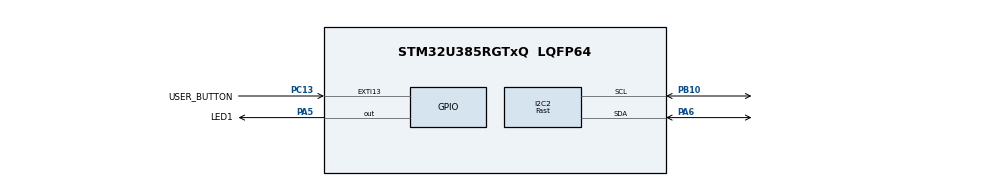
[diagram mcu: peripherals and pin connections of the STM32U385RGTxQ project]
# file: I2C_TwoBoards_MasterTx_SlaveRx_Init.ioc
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CORTEX_M33_NS.userName=CORTEX_M33
I2C2.I2C_Coeff_DF=2
I2C2.I2C_Fall_Time=10
I2C2.I2C_Rise_Time=100
I2C2.I2C_Speed_Mode=I2C_Fast
I2C2.OwnAddress=SLAVE_OWN_ADDRESS
I2C2.Timing=0x10901850
Mcu.Family=STM32U3
Mcu.Name=STM32U385RGTxQ
Mcu.Package=LQFP64
NVIC.EXTI13_IRQn=true\:0\:0\:false\:false\:true\:true\:true\:true
NVIC.PriorityGroup=NVIC_PRIORITYGROUP_4
PA5.GPIO_Label=LED1
PA5.Signal=GPIO_Output
PA6.GPIO_Pu=GPIO_PULLUP
PA6.GPIO_Speed=GPIO_SPEED_FREQ_HIGH
PA6.Mode=I2C
PA6.Signal=I2C2_SDA
PB10.GPIO_Pu=GPIO_PULLUP
PB10.GPIO_Speed=GPIO_SPEED_FREQ_HIGH
PB10.Mode=I2C
PB10.Signal=I2C2_SCL
PC13.GPIO_Label=USER_BUTTON
PC13.GPIO_ModeDefaultEXTI=GPIO_MODE_IT_RISING
PC13.Signal=GPXTI13
PH0-OSC_IN\ (PH0).Mode=HSE-External-Oscillator
PH0-OSC_IN\ (PH0).Signal=RCC_OSC_IN
PH1-OSC_OUT\ (PH1).Mode=HSE-External-Oscillator
PH1-OSC_OUT\ (PH1).Signal=RCC_OSC_OUT
ProjectManager.HeapSize=0x200
ProjectManager.StackSize=0x400
ProjectManager.TargetToolchain=EWARM V9.20
RCC.ADCFreq_Value=96000000
RCC.AHBFreq_Value=96000000
RCC.APB1Freq_Value=96000000
RCC.APB1TimFreq_Value=96000000
RCC.APB2Freq_Value=96000000
RCC.APB2TimFreq_Value=96000000
RCC.APB3Freq_Value=96000000
RCC.CortexFreq_Value=12000000
RCC.FLatency=FLASH_LATENCY_2
RCC.HCLKFreq_Value=96000000
RCC.HSE_VALUE=16000000
RCC.HSI48_VALUE=48000000
RCC.HSI_VALUE=16000000
RCC.LSE_VALUE=32768
RCC.LSIDIV_VALUE=32000
RCC.MSISDIV=RCC_MSI_DIV1
RCC.SYSCLKFreq_VALUE=96000000
RCC.USBFreq_Value=96000000
VP_ICACHE_VS_ICACHE.Mode=DirectMappedCache
VP_PWR_VS_DBSignals.Mode=DisableDeadBatterySignals
VP_PWR_VS_LPOM.Mode=PowerOptimisation
VP_PWR_VS_SECSignals.Mode=Security/Privilege
board=custom

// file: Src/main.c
/* USER CODE BEGIN Header */
/**
  ******************************************************************************
  * @file    Examples_LL/I2C/I2C_TwoBoards_MasterTx_SlaveRx_Init/Src/main.c
  * @author  MCD Application Team
  * @brief   This example describes how to send/receive bytes over I2C IP using
  *          the STM32U3xx I2C LL API.
  *          Peripheral initialization done using LL unitary services functions.
  ******************************************************************************
  * @attention
  *
  * Copyright (c) 2024 STMicroelectronics.
  * All rights reserved.
  *
  * This software is licensed under terms that can be found in the LICENSE file
  * in the root directory of this software component.
  * If no LICENSE file comes with this software, it is provided AS-IS.
  *
  ******************************************************************************
  */
/* USER CODE END Header */
#include "main.h"

/* USER CODE BEGIN PD */
/**
  * @brief Timeout value
  */
#if (USE_TIMEOUT == 1)
#ifdef SLAVE_BOARD
#define I2C_SEND_TIMEOUT_RXNE_MS 5

#else /* MASTER_BOARD */

#define I2C_SEND_TIMEOUT_TXIS_MS 5
#define I2C_SEND_TIMEOUT_SB_MS        5
#define I2C_SEND_TIMEOUT_ADDR_MS      5
#endif /* SLAVE_BOARD */
#endif /* USE_TIMEOUT */

/**
  * @brief I2C devices settings
  */
/* Timing register value is computed with the STM32CubeMX Tool,
  * Fast Mode @400kHz with I2CCLK = 24 MHz,
  * rise time = 100ns, fall time = 10ns
  * Timing Value = (uint32_t)0x20F02A89
  */
#define I2C_TIMING               0x20F02A89

/* USER CODE END PD */

/* USER CODE BEGIN PV */

#if (USE_TIMEOUT == 1)
uint32_t Timeout                 = 0; /* Variable used for Timeout management */
#endif /* USE_TIMEOUT */
const uint8_t aLedOn[]           = "LED ON";

#ifdef SLAVE_BOARD
/**
  * @brief Variables related to SlaveReceive process
  */
uint8_t      aReceiveBuffer[0xF] = {0};
__IO uint8_t ubReceiveIndex      = 0;

#else /* MASTER_BOARD */
/**
  * @brief Variables related to MasterTransmit process
  */
__IO uint8_t  ubNbDataToTransmit = sizeof(aLedOn);
uint8_t      *pTransmitBuffer    = (uint8_t *)aLedOn;
__IO uint8_t ubButtonPress = 0;
#endif /* SLAVE_BOARD */

/* USER CODE END PV */

void SystemClock_Config(void);
static void MX_GPIO_Init(void);
static void MX_ICACHE_Init(void);
static void MX_I2C2_Init(void);
/* USER CODE BEGIN PFP */
#ifndef SLAVE_BOARD
#endif /* MASTER_BOARD */
void     LED_On(void);
void     LED_Off(void);
void     LED_Blinking(uint32_t Period);
#ifdef SLAVE_BOARD
void     Configure_I2C_Slave(void);
void     Handle_I2C_Slave(void);
uint8_t  Buffercmp8(uint8_t *pBuffer1, uint8_t *pBuffer2, uint8_t BufferLength);
#else /* MASTER_BOARD */
void     WaitForUserButtonPress(void);
void     Handle_I2C_Master(void);
#endif /* SLAVE_BOARD */
/* USER CODE END PFP */

int main(void)
{

  /* MCU Configuration--------------------------------------------------------*/

  /* Reset of all peripherals, Initializes the Flash interface and the Systick. */

  /* System interrupt init*/
  NVIC_SetPriorityGrouping(NVIC_PRIORITYGROUP_4);

  /* SysTick_IRQn interrupt configuration */
  NVIC_SetPriority(SysTick_IRQn, NVIC_EncodePriority(NVIC_GetPriorityGrouping(),15, 0));

  /* Configure the system clock */
  SystemClock_Config();

  /* Initialize all configured peripherals */
  MX_GPIO_Init();
  MX_ICACHE_Init();
  MX_I2C2_Init();
  /* USER CODE BEGIN 2 */
#ifndef SLAVE_BOARD
#endif /* SLAVE_BOARD */

  /* Set LD2 Off */
  LED_Off();

#ifdef SLAVE_BOARD

  /* Handle I2C2 events (Slave) */
  Handle_I2C_Slave();
#else /* MASTER_BOARD */

  /* Wait for User push-button press to start transfer */
  WaitForUserButtonPress();

  /* Handle I2C2 events (Master) */
  Handle_I2C_Master();
#endif /* SLAVE_BOARD */

  /* USER CODE END 2 */

  /* Infinite loop */
  while (1)
  {

  }
}

void SystemClock_Config(void)
{
  /** Enable Epod Booster
  */
  LL_AHB1_GRP2_EnableClock(LL_AHB1_GRP2_PERIPH_PWR);
  LL_RCC_SetEPODBoosterClkSource(LL_RCC_EPODBOOSTCLKSRCE_MSIS);
  LL_RCC_SetEPODBoosterClkPrescaler(LL_RCC_EPODBOOSTCLKPRESCAL_1);
  LL_PWR_EnableEPODBooster();
  while(LL_PWR_IsActiveFlag_BOOST() != 1U)
  {
  }

  /** Configure the main internal regulator output voltage
  */
  LL_PWR_SetRegulVoltageScaling(LL_PWR_REGU_VOLTAGE_SCALE1);
  while(LL_PWR_GetRegulCurrentVOS() != LL_PWR_REGU_VOLTAGE_SCALE1)
  {
  }

  /** Set Flash latency before switching to MSIS
  */
  LL_FLASH_SetLatency(LL_FLASH_LATENCY_2);
  while(LL_FLASH_GetLatency() != LL_FLASH_LATENCY_2)
  {
  }

  /** Activate MSIS as source
  */
  LL_RCC_MSIS_SetClockSource(LL_RCC_MSIS_CLOCK_SOURCE_RC0);
  LL_RCC_MSIS_SetClockDivision(LL_RCC_MSIS_CLOCK_SOURCE_RC_DIV_1);
  LL_RCC_MSI_SetMSIxClockRange();
  LL_RCC_SetSysClkSource(LL_RCC_SYS_CLKSOURCE_MSIS);

  /** Wait till System clock is ready
  */
  while(LL_RCC_GetSysClkSource() != LL_RCC_SYS_CLKSOURCE_MSIS)
  {
  }

  LL_RCC_SetAHBPrescaler(LL_RCC_HCLK_SYSCLK_DIV_1);
  LL_RCC_SetAPB1Prescaler(LL_RCC_APB1_HCLK_DIV_1);
  LL_RCC_SetAPB2Prescaler(LL_RCC_APB2_HCLK_DIV_1);
  LL_RCC_SetAPB3Prescaler(LL_RCC_APB3_HCLK_DIV_1);

  LL_Init1msTick(96000000);

  LL_SetSystemCoreClock(96000000);
}

static void MX_I2C2_Init(void)
{

  LL_I2C_InitTypeDef I2C_InitStruct = {0};

  LL_GPIO_InitTypeDef GPIO_InitStruct = {0};

  LL_RCC_SetI2CClockSource(LL_RCC_I2C2_CLKSOURCE_PCLK1);

  LL_AHB2_GRP1_EnableClock(LL_AHB2_GRP1_PERIPH_GPIOA);
  LL_AHB2_GRP1_EnableClock(LL_AHB2_GRP1_PERIPH_GPIOB);
  /**I2C2 GPIO Configuration
  PA6   ------> I2C2_SDA
  PB10   ------> I2C2_SCL
  */
  GPIO_InitStruct.Pin = LL_GPIO_PIN_6;
  GPIO_InitStruct.Mode = LL_GPIO_MODE_ALTERNATE;
  GPIO_InitStruct.Speed = LL_GPIO_SPEED_FREQ_HIGH;
  GPIO_InitStruct.OutputType = LL_GPIO_OUTPUT_OPENDRAIN;
  GPIO_InitStruct.Pull = LL_GPIO_PULL_UP;
  GPIO_InitStruct.Alternate = LL_GPIO_AF_4;
  LL_GPIO_Init(GPIOA, &GPIO_InitStruct);

  GPIO_InitStruct.Pin = LL_GPIO_PIN_10;
  GPIO_InitStruct.Mode = LL_GPIO_MODE_ALTERNATE;
  GPIO_InitStruct.Speed = LL_GPIO_SPEED_FREQ_HIGH;
  GPIO_InitStruct.OutputType = LL_GPIO_OUTPUT_OPENDRAIN;
  GPIO_InitStruct.Pull = LL_GPIO_PULL_UP;
  GPIO_InitStruct.Alternate = LL_GPIO_AF_4;
  LL_GPIO_Init(GPIOB, &GPIO_InitStruct);

  /* Peripheral clock enable */
  LL_APB1_GRP1_EnableClock(LL_APB1_GRP1_PERIPH_I2C2);

  /** I2C Initialization
  */
  LL_I2C_EnableAutoEndMode(I2C2);
  LL_I2C_DisableOwnAddress2(I2C2);
  LL_I2C_DisableGeneralCall(I2C2);
  LL_I2C_EnableClockStretching(I2C2);
  I2C_InitStruct.PeripheralMode = LL_I2C_MODE_I2C;
  I2C_InitStruct.Timing = 0x10901850;
  I2C_InitStruct.AnalogFilter = LL_I2C_ANALOGFILTER_ENABLE;
  I2C_InitStruct.DigitalFilter = 2;
  I2C_InitStruct.OwnAddress1 = SLAVE_OWN_ADDRESS;
  I2C_InitStruct.TypeAcknowledge = LL_I2C_ACK;
  I2C_InitStruct.OwnAddrSize = LL_I2C_OWNADDRESS1_7BIT;
  LL_I2C_Init(I2C2, &I2C_InitStruct);
  LL_I2C_SetOwnAddress2(I2C2, 0, LL_I2C_OWNADDRESS2_NOMASK);
  /* USER CODE BEGIN I2C2_Init 2 */
#ifdef SLAVE_BOARD
  /* Configure I2C2 functional parameters *********************************/

/* Disable I2C2 prior modifying configuration registers */
LL_I2C_Disable(I2C2);

/* Configure the SDA setup, hold time and the SCL high, low period */
/* Timing register value is computed with the STM32CubeMX Tool,
  * Fast Mode @400kHz with I2CCLK = 24 MHz,
  * rise time = 100ns, fall time = 10ns
  * Timing Value = (uint32_t)0x20F02A89
  */
LL_I2C_SetTiming(I2C2, I2C_TIMING);

/* Configure the Own Address1 :
 *  - OwnAddress1 is SLAVE_OWN_ADDRESS
 *  - OwnAddrSize is LL_I2C_OWNADDRESS1_7BIT
 *  - Own Address1 is enabled
 */
LL_I2C_SetOwnAddress1(I2C2, SLAVE_OWN_ADDRESS, LL_I2C_OWNADDRESS1_7BIT);
LL_I2C_EnableOwnAddress1(I2C2);

/* Enable I2C2 **********************************************************/
LL_I2C_Enable(I2C2);
#else
  /* Configure I2C2 functional parameters ********************************/

/* Disable I2C2 prior modifying configuration registers */
LL_I2C_Disable(I2C2);

/* Configure the SDA setup, hold time and the SCL high, low period */
LL_I2C_SetTiming(I2C2, I2C_TIMING);

/* Enable I2C2 **********************************************************/
LL_I2C_Enable(I2C2);
#endif

  /* USER CODE END I2C2_Init 2 */

}

static void MX_ICACHE_Init(void)
{

  /** Enable instruction cache in 1-way (direct mapped cache)
  */
  LL_ICACHE_SetMode(LL_ICACHE_1WAY);
  LL_ICACHE_Enable();

}

static void MX_GPIO_Init(void)
{
  LL_EXTI_InitTypeDef EXTI_InitStruct = {0};
  LL_GPIO_InitTypeDef GPIO_InitStruct = {0};

  /* GPIO Ports Clock Enable */
  LL_AHB2_GRP1_EnableClock(LL_AHB2_GRP1_PERIPH_GPIOC);
  LL_AHB2_GRP1_EnableClock(LL_AHB2_GRP1_PERIPH_GPIOH);
  LL_AHB2_GRP1_EnableClock(LL_AHB2_GRP1_PERIPH_GPIOA);
  LL_AHB2_GRP1_EnableClock(LL_AHB2_GRP1_PERIPH_GPIOB);

  /**/
  LL_GPIO_ResetOutputPin(LED1_GPIO_Port, LED1_Pin);

  /**/
  LL_EXTI_SetEXTISource(LL_EXTI_CONFIG_PORTC, LL_EXTI_CONFIG_LINE13);

  /**/
  EXTI_InitStruct.Line_0_31 = LL_EXTI_LINE_13;
  EXTI_InitStruct.LineCommand = ENABLE;
  EXTI_InitStruct.Mode = LL_EXTI_MODE_IT;
  EXTI_InitStruct.Trigger = LL_EXTI_TRIGGER_RISING;
  LL_EXTI_Init(&EXTI_InitStruct);

  /**/
  LL_GPIO_SetPinPull(USER_BUTTON_GPIO_Port, USER_BUTTON_Pin, LL_GPIO_PULL_NO);

  /**/
  LL_GPIO_SetPinMode(USER_BUTTON_GPIO_Port, USER_BUTTON_Pin, LL_GPIO_MODE_INPUT);

  /**/
  GPIO_InitStruct.Pin = LED1_Pin;
  GPIO_InitStruct.Mode = LL_GPIO_MODE_OUTPUT;
  GPIO_InitStruct.Speed = LL_GPIO_SPEED_FREQ_LOW;
  GPIO_InitStruct.OutputType = LL_GPIO_OUTPUT_PUSHPULL;
  GPIO_InitStruct.Pull = LL_GPIO_PULL_NO;
  LL_GPIO_Init(LED1_GPIO_Port, &GPIO_InitStruct);

  /* EXTI interrupt init*/
  NVIC_SetPriority(EXTI13_IRQn, NVIC_EncodePriority(NVIC_GetPriorityGrouping(),0, 0));
  NVIC_EnableIRQ(EXTI13_IRQn);

}

/* USER CODE BEGIN 4 */
#ifndef SLAVE_BOARD
#endif /* MASTER_BOARD */

/**
  * @brief  Turn-on LD2.
  * @param  None
  * @retval None
  */
void LED_On(void)
{
  /* Turn LD2 on */
  LL_GPIO_SetOutputPin(GPIOA, LL_GPIO_PIN_5);
}

/**
  * @brief  Turn-off LD2.
  * @param  None
  * @retval None
  */
void LED_Off(void)
{
  /* Turn LD2 off */
  LL_GPIO_ResetOutputPin(GPIOA, LL_GPIO_PIN_5);
}

/**
  * @brief  Set LD2 to Blinking mode for an infinite loop (toggle period based on value provided as input parameter).
  * @param  Period : Period of time (in ms) between each toggling of LED
  *   This parameter can be user defined values. Pre-defined values used in that example are :
  *     @arg LED_BLINK_FAST : Fast Blinking
  *     @arg LED_BLINK_SLOW : Slow Blinking
  *     @arg LED_BLINK_ERROR : Error specific Blinking
  * @retval None
  */
void LED_Blinking(uint32_t Period)
{
  /* Turn LD2 on */
  LL_GPIO_SetOutputPin(GPIOA, LL_GPIO_PIN_5);

  /* Toggle IO in an infinite loop */
  while (1)
  {
    LL_GPIO_TogglePin(GPIOA, LL_GPIO_PIN_5);
    LL_mDelay(Period);
  }
}

#ifdef SLAVE_BOARD
/**
  * @brief  This Function handle Slave events to perform a reception process
  * @note  This function is composed in different steps :
  *        -1- Wait ADDR flag and check address match code and direction
  *        -2- Loop until end of transfer received (STOP flag raised)
  *             -2.1- Receive data (RXNE flag raised)
  *             -2.2- Receive data (BTF flag raised)
  *        -3- Clear pending flags, Check Data consistency
  * @param  None
  * @retval None
  */
void Handle_I2C_Slave(void)
{
  /* (1) Wait ADDR flag and check address match code and direction ************/
  while (!LL_I2C_IsActiveFlag_ADDR(I2C2))
  {
  }

  /* Verify the Address Match with the OWN Slave address */
  if (LL_I2C_GetAddressMatchCode(I2C2) == SLAVE_OWN_ADDRESS)
  {
    /* Verify the transfer direction, a write direction, Slave enters receiver mode */
    if (LL_I2C_GetTransferDirection(I2C2) == LL_I2C_DIRECTION_WRITE)
    {
      /* Clear ADDR flag value in ISR register */
      LL_I2C_ClearFlag_ADDR(I2C2);
    }
    else
    {
      /* Clear ADDR flag value in ISR register */
      LL_I2C_ClearFlag_ADDR(I2C2);

      /* Call Error function */
      Error_Callback();
    }
  }
  else
  {
    /* Clear ADDR flag value in ISR register */
    LL_I2C_ClearFlag_ADDR(I2C2);

    /* Call Error function */
    Error_Callback();
  }

  /* (2) Loop until end of transfer received (STOP flag raised) ***************/

#if (USE_TIMEOUT == 1)
  Timeout = I2C_SEND_TIMEOUT_RXNE_MS;
#endif /* USE_TIMEOUT */

  /* Loop until STOP flag is raised  */
  while (!LL_I2C_IsActiveFlag_STOP(I2C2))
  {
    /* (2.1) Receive data (RXNE flag raised) **********************************/

    /* Check RXNE flag value in ISR register */
    if (LL_I2C_IsActiveFlag_RXNE(I2C2))
    {
      /* Read character in Receive Data register.
      RXNE flag is cleared by reading data in RXDR register */
      aReceiveBuffer[ubReceiveIndex++] = LL_I2C_ReceiveData8(I2C2);

#if (USE_TIMEOUT == 1)
      Timeout = I2C_SEND_TIMEOUT_RXNE_MS;
#endif /* USE_TIMEOUT */
    }

#if (USE_TIMEOUT == 1)
    /* Check Systick counter flag to decrement the time-out value */
    if (LL_SYSTICK_IsActiveCounterFlag())
    {
      if (Timeout-- == 0)
      {
        /* Time-out occurred. Set LD2 to blinking mode */
        LED_Blinking(LED_BLINK_SLOW);
      }
    }
#endif /* USE_TIMEOUT */
  }

  /* (3) Clear pending flags, Check Data consistency **************************/

  /* End of I2C_SlaveReceiver_MasterTransmitter_DMA Process */
  LL_I2C_ClearFlag_STOP(I2C2);

  /* Check if data request to turn on the LD2 */
  if (Buffercmp8((uint8_t *)aReceiveBuffer, (uint8_t *)aLedOn, (ubReceiveIndex - 1)) == 0)
  {
    /* Turn LD2 On:
     *  - Expected bytes have been received
     *  - Slave Rx sequence completed successfully
     */
    LED_On();
  }
  else
  {
    /* Call Error function */
    Error_Callback();
  }
}

/**
  * @brief  Compares two 8-bit buffers and returns the comparison result.
  * @param  pBuffer1: pointer to the source buffer to be compared to.
  * @param  pBuffer2: pointer to the second source buffer to be compared to the first.
  * @param  BufferLength: buffer's length.
  *    - 0: Comparison is OK (the two Buffers are identical)
  *    - Value different from 0: Comparison is NOK (Buffers are different)
  */
uint8_t Buffercmp8(uint8_t *pBuffer1, uint8_t *pBuffer2, uint8_t BufferLength)
{
  while (BufferLength--)
  {
    if (*pBuffer1 != *pBuffer2)
    {
      return 1;
    }

    pBuffer1++;
    pBuffer2++;
  }

  return 0;
}

#else /* MASTER_BOARD */

/**
  * @brief  Wait for User push-button press to start transfer.
  * @param  None
  * @retval None
  */
/*  */
void WaitForUserButtonPress(void)
{
  while (ubButtonPress == 0)
  {
    LL_GPIO_TogglePin(GPIOA, LL_GPIO_PIN_5);
    LL_mDelay(LED_BLINK_FAST);
  }
  /* Turn LD2 off */
  LL_GPIO_ResetOutputPin(GPIOA, LL_GPIO_PIN_5);
}

/**
  * @brief  This Function handle Master events to perform a transmission process
  * @note  This function is composed in different steps :
  *        -1- Initiate a Start condition to the Slave device
  *        -2- Loop until end of transfer received (STOP flag raised)
  *             -2.1- Transmit data (TXIS flag raised)
  *        -3- Clear pending flags, Data consistency are checking into Slave process
  * @param  None
  * @retval None
  */
void Handle_I2C_Master(void)
{
  /* (1) Initiate a Start condition to the Slave device ***********************/

  /* Master Generate Start condition for a write request :              */
  /*    - to the Slave with a 7-Bit SLAVE_OWN_ADDRESS                   */
  /*    - with a auto stop condition generation when transmit all bytes */
  LL_I2C_HandleTransfer(I2C2, SLAVE_OWN_ADDRESS, LL_I2C_ADDRSLAVE_7BIT, ubNbDataToTransmit, LL_I2C_MODE_AUTOEND, LL_I2C_GENERATE_START_WRITE);

  /* (2) Loop until end of transfer received (STOP flag raised) ***************/

#if (USE_TIMEOUT == 1)
  Timeout = I2C_SEND_TIMEOUT_TXIS_MS;
#endif /* USE_TIMEOUT */

  /* Loop until STOP flag is raised  */
  while (!LL_I2C_IsActiveFlag_STOP(I2C2))
  {
    /* (2.1) Transmit data (TXIS flag raised) *********************************/

    /* Check TXIS flag value in ISR register */
    if (LL_I2C_IsActiveFlag_TXIS(I2C2))
    {
      /* Write data in Transmit Data register.
      TXIS flag is cleared by writing data in TXDR register */
      LL_I2C_TransmitData8(I2C2, (*pTransmitBuffer++));

#if (USE_TIMEOUT == 1)
      Timeout = I2C_SEND_TIMEOUT_TXIS_MS;
#endif /* USE_TIMEOUT */
    }

#if (USE_TIMEOUT == 1)
    /* Check Systick counter flag to decrement the time-out value */
    if (LL_SYSTICK_IsActiveCounterFlag())
    {
      if (Timeout-- == 0)
      {
        /* Time-out occurred. Set LD2 to blinking mode */
        LED_Blinking(LED_BLINK_SLOW);
      }
    }
#endif /* USE_TIMEOUT */
  }

  /* (3) Clear pending flags, Data consistency are checking into Slave process */

  /* End of I2C_SlaveReceiver_MasterTransmitter Process */
  LL_I2C_ClearFlag_STOP(I2C2);

  /* Turn LD2 On:
   *  - Expected bytes have been sent
   *  - Master Tx sequence completed successfully
   */
  LED_On();
}
#endif /* SLAVE_BOARD */

/******************************************************************************/
/*   IRQ HANDLER TREATMENT Functions                                          */
/******************************************************************************/
#ifndef SLAVE_BOARD
/**
  * @brief  Function to manage User push-button
  * @param  None
  * @retval None
  */
void UserButton_Callback(void)
{
  /* Update User push-button variable : to be checked in waiting loop in main program */
  ubButtonPress = 1;
}
#endif /* SLAVE_BOARD */

/**
  * @brief  Function called in case of error detected in I2C IT Handler
  * @param  None
  * @retval None
  */
void Error_Callback(void)
{
  /* Unexpected event : Set LD2 to Blinking mode to indicate error occurs */
  LED_Blinking(LED_BLINK_ERROR);
}

/* USER CODE END 4 */

void Error_Handler(void)
{
  /* USER CODE BEGIN Error_Handler_Debug */
  /* User can add his own implementation to report the HAL error return state */
  /* Infinite Loop */
  while(1)
  {
  }
  /* USER CODE END Error_Handler_Debug */
}

#ifdef  USE_FULL_ASSERT
/**
  * @brief  Reports the name of the source file and the source line number
  *         where the assert_param error has occurred.
  * @param  file: pointer to the source file name
  * @param  line: assert_param error line source number
  * @retval None
  */
void assert_failed(uint8_t *file, uint32_t line)
{
  /* USER CODE BEGIN 6 */
  /* User can add his own implementation to report the file name and line number,
     ex: printf("Wrong parameters value: file %s on line %d\r\n", file, line) */
  /* Infinite Loop */
  while(1)
  {
  }
  /* USER CODE END 6 */
}
#endif /* USE_FULL_ASSERT */
